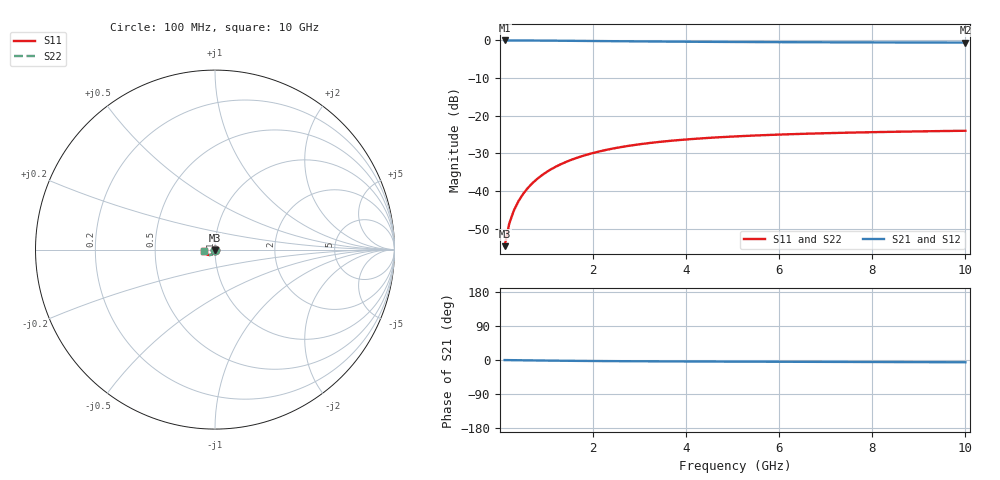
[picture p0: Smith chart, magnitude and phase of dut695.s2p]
! Touchstone file exported from HFSS 2024.1.0
!  File:  C:/UserFiles/LocalFiles/RDL_TSV_Batchsim/temp_TSV1_695_1779796570.aedt
!  Generated:  08:01:05 PM May 26, 2026
!  Design:  TSV1
!  Project:  temp_TSV1_695_1779796570
!  Setup:  Setup1
!  Solution:  Sweep
! Variables:
!  dtsv = 12.82um
!  hbump = 3um
!  htsv = 94.2um
!  lrdl = 252.1521522um
!  p = 40
!  p1 = 52.47um
!  t = 500um
!  trdl = 3um
!  wrdl = 24.89489489um
# GHz S MA R 50.000000
! Terminal data exported
! Port[1] = TSV22_T1
! Port[2] = TSV22_T2
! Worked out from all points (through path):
!   100 points, 100 MHz to 10 GHz, reference 50 ohm
!   highest |S21| = 0.00 dB at 100 MHz (marker M1); lowest = -0.6 dB at 10 GHz (marker M2)
!   lowest |S11| = -54.7 dB at 100 MHz (marker M3), VSWR 1.00, Z = 50 - j0.184 ohm
!   |S11| at or under -10 dB: start of sweep to end of sweep
!   |S22| runs from -54.7 to -24.0 dB; largest |S21 - S12| = 4.1e-15
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0.1  0.001845 -88.7  0.9998 -0.2  0.9998 -0.2  0.001845 -88.7
! Gamma 0 0 0 0
! Port Impedance 50 0 50 0
0.2  0.003686 -91.9  0.9996 -0.3  0.9996 -0.3  0.003686 -91.9
0.3  0.005525 -94.1  0.9993 -0.5  0.9993 -0.5  0.005525 -94.1
0.4  0.007354 -96.1  0.9989 -0.6  0.9989 -0.6  0.007354 -96.1
0.5  0.009167 -98.0  0.9984 -0.8  0.9984 -0.8  0.009167 -98.0
0.6  0.01096 -99.9  0.9978 -0.9  0.9978 -0.9  0.01096 -99.9
0.7  0.01272 -101.7  0.9971 -1.1  0.9971 -1.1  0.01272 -101.7
0.8  0.01445 -103.5  0.9963 -1.2  0.9963 -1.2  0.01445 -103.5
0.9  0.01615 -105.3  0.9955 -1.4  0.9955 -1.4  0.01615 -105.3
1.1  0.01942 -108.7  0.9935 -1.6  0.9935 -1.6  0.01942 -108.7
1.4  0.02401 -113.5  0.9903 -2.0  0.9903 -2.0  0.02401 -113.5
1.6  0.02684 -116.5  0.9879 -2.2  0.9879 -2.2  0.02684 -116.5
1.8  0.02948 -119.4  0.9855 -2.4  0.9855 -2.4  0.02948 -119.4
2.1  0.03309 -123.5  0.9818 -2.7  0.9818 -2.7  0.03309 -123.5
2.5  0.0373 -128.4  0.977 -3.0  0.977 -3.0  0.0373 -128.4
2.9  0.0409 -132.9  0.9725 -3.3  0.9725 -3.3  0.0409 -132.9
3.4  0.04465 -137.8  0.9673 -3.6  0.9673 -3.6  0.04465 -137.8
4.2  0.04933 -144.4  0.9603 -4.0  0.9603 -4.0  0.04933 -144.4
5.1  0.05321 -150.5  0.954 -4.3  0.954 -4.3  0.05321 -150.5
6.7  0.05786 -159.0  0.9461 -4.9  0.9461 -4.9  0.05786 -159.0
8.4  0.06101 -166.0  0.9405 -5.4  0.9405 -5.4  0.06101 -166.0
10  0.06307 -171.3  0.937 -6.0  0.937 -6.0  0.06307 -171.3
